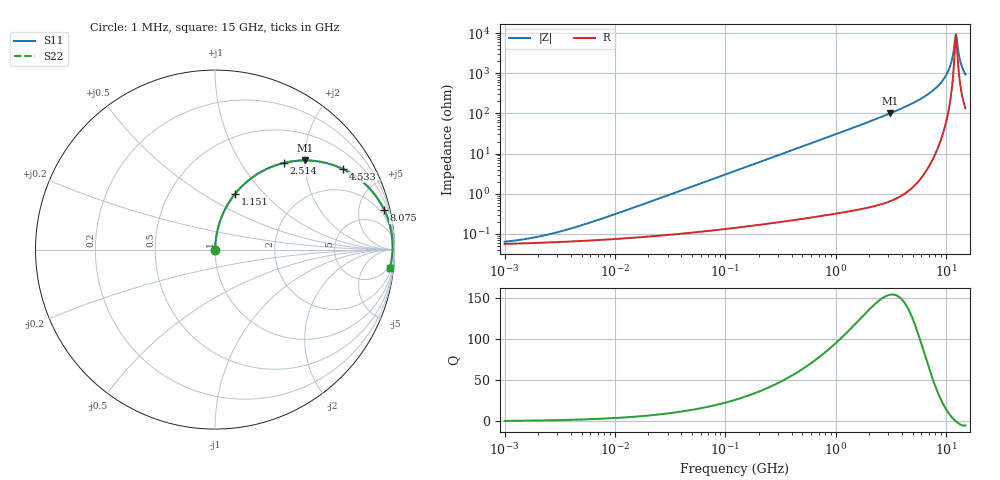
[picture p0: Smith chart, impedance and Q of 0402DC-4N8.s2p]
# MHz  S  MA  R  50
!Freq  MagS11  AngS11  MagS21  AngS21  MagS12  AngS12  MagS22  AngS22
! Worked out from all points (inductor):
!   801 points, 1 MHz to 15 GHz, reference 50 ohm
!   read as one part in series: L = 4.8 nH near 7.018 MHz
!   highest Q = 154 at 3.122 GHz (marker M1), where L = 5.13 nH
!   self-resonance near 12.3 GHz
!   S11 on the Smith chart (normalised r, x): 1 MHz: 1.00, +0.00; 1.151 GHz: 1.01, +0.70; 2.514 GHz: 1.01, +1.58; 4.533 GHz: 1.02, +3.16; 8.075 GHz: 1.21, +8.54; 15 GHz: 4, -18
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1  0.0006397 28.1  0.9994 -0.0  0.9994 -0.0  0.0006397 28.1
2.159231  0.0008878 47.1  0.9994 -0.0  0.9994 -0.0  0.0008878 47.1
5.011168  0.001652 66.0  0.9993 -0.1  0.9993 -0.1  0.001652 66.0
24.81158  0.00753 82.7  0.9991 -0.4  0.9991 -0.4  0.00753 82.7
122.8485  0.037 85.7  0.9979 -2.1  0.9979 -2.1  0.037 85.7
608.2547  0.1804 78.8  0.9811 -10.4  0.9811 -10.4  0.1804 78.8
1150.607  0.3294 70.2  0.941 -19.2  0.941 -19.2  0.3294 70.2
2514.488  0.6185 51.4  0.7816 -38.2  0.7816 -38.2  0.6185 51.4
3048.066  0.6974 45.4  0.7122 -44.2  0.7122 -44.2  0.6974 45.4
3122.276  0.7071 44.6  0.7026 -45.0  0.7026 -45.0  0.7071 44.6
4533.122  0.8424 32.2  0.5327 -57.4  0.5327 -57.4  0.8424 32.2
6272.344  0.9275 21.3  0.3632 -68.0  0.3632 -68.0  0.9275 21.3
8074.614  0.9685 13.1  0.2269 -75.5  0.2269 -75.5  0.9685 13.1
9328.308  0.9821 8.6  0.1491 -78.9  0.1491 -78.9  0.9821 8.6
10394.74  0.9879 5.2  0.09116 -79.8  0.09116 -79.8  0.9879 5.2
11172.6  0.9896 3.0  0.05299 -77.2  0.05299 -77.2  0.9896 3.0
12008.67  0.9897 0.8  0.01712 -52.6  0.01712 -52.6  0.9897 0.8
12301.04  0.9893 0.1  0.01069 -5.0  0.01069 -5.0  0.9893 0.1
12752.99  0.9885 -1.0  0.02147 57.0  0.02147 57.0  0.9885 -1.0
13381.53  0.9867 -2.5  0.04545 71.7  0.04545 71.7  0.9867 -2.5
13873.18  0.9848 -3.6  0.0642 74.5  0.0642 74.5  0.9848 -3.6
15000  0.9794 -6.0  0.1052 75.7  0.1052 75.7  0.9794 -6.0
